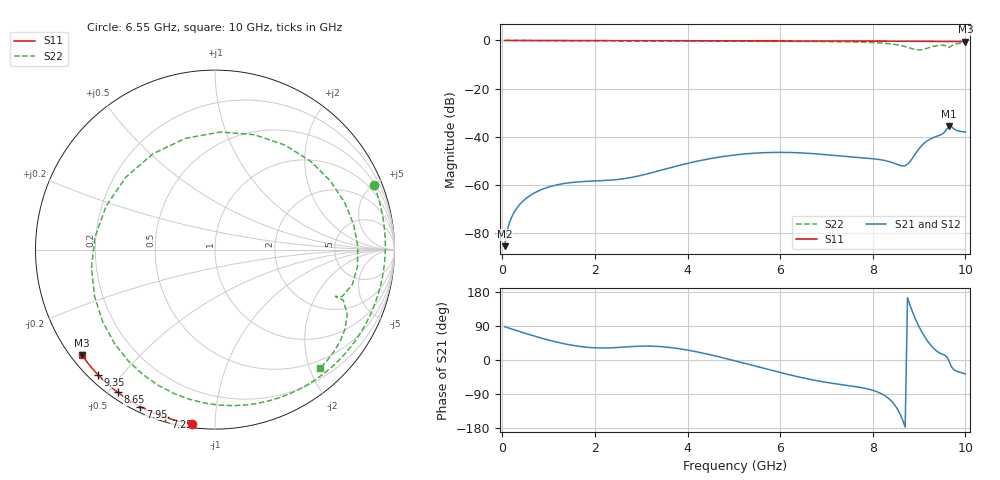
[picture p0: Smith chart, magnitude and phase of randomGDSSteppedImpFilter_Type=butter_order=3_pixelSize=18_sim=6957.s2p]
! freq	dB(S11)	phase(S11)	dB(S12)	phase(S12)
!  dB(S21)	phase(S21)	dB(S22)	phase(S22)
!S-par simulation data
#  GHz  S  DB  R 50
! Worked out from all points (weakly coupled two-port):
!   200 points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, 50 MHz to 10 GHz, reference 50 ohm
!   highest |S21| = -35.52 dB at 9.65 GHz (marker M1); lowest = -85.5 dB at 50 MHz (marker M2)
!   lowest |S11| = -0.5 dB at 10 GHz (marker M3), VSWR 35.97, Z = 1.56 - j17.5 ohm
!   |S11| at or under -10 dB: nowhere
!   |S22| runs from -3.9 to 0.0 dB; largest |S21 - S12| = 0
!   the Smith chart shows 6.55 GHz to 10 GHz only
!   S11 on the Smith chart (normalised r, x): 6.55 GHz: 0.02, -0.88; 7.25 GHz: 0.02, -0.75; 7.95 GHz: 0.02, -0.63; 8.65 GHz: 0.02, -0.53; 9.35 GHz: 0.03, -0.43; 10 GHz: 0.03, -0.35
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0.05  -0.00 -0.8  -85.46 87.9  -85.46 87.9  -0.00 -3.2
0.3  -0.01 -4.9  -70.03 78.0  -70.03 78.0  -0.03 -19.2
0.6  -0.01 -9.8  -64.41 66.5  -64.41 66.5  -0.05 -38.1
1.15  -0.02 -18.6  -60.11 48.0  -60.11 48.0  -0.09 -71.2
1.75  -0.04 -28.1  -58.60 34.6  -58.60 34.6  -0.12 -104.6
2.6  -0.05 -41.3  -57.50 33.9  -57.50 33.9  -0.15 -147.5
3.4  -0.07 -53.4  -54.04 35.5  -54.04 35.5  -0.19 175.1
4.15  -0.09 -64.4  -50.40 22.7  -50.40 22.7  -0.22 140.4
5.05  -0.12 -77.2  -47.51 -3.0  -47.51 -3.0  -0.27 97.8
5.75  -0.15 -86.8  -46.55 -25.3  -46.55 -25.3  -0.32 63.1
6.55  -0.18 -97.5  -46.81 -48.7  -46.81 -48.7  -0.39 22.1
6.7  -0.19 -99.4  -47.00 -52.4  -47.00 -52.4  -0.41 14.2
7.25  -0.23 -106.5  -47.92 -63.8  -47.92 -63.8  -0.52 -15.5
7.95  -0.28 -115.5  -49.05 -78.3  -49.05 -78.3  -0.83 -58.8
8.35  -0.31 -120.5  -50.29 -102.4  -50.29 -102.4  -1.34 -93.7
8.65  -0.34 -124.3  -52.16 -160.2  -52.16 -160.2  -2.31 -136.9
8.85  -0.35 -126.8  -49.08 129.4  -49.08 129.4  -3.44 174.1
9.05  -0.37 -129.3  -43.81 76.0  -43.81 76.0  -3.86 104.9
9.2  -0.39 -131.2  -41.37 47.2  -41.37 47.2  -3.09 56.1
9.35  -0.41 -133.1  -40.04 26.8  -40.04 26.8  -2.29 19.9
9.65  -0.44 -136.9  -35.52 -4.1  -35.52 -4.1  -2.86 -21.2
10  -0.48 -141.5  -38.01 -36.9  -38.01 -36.9  -1.08 -48.6
